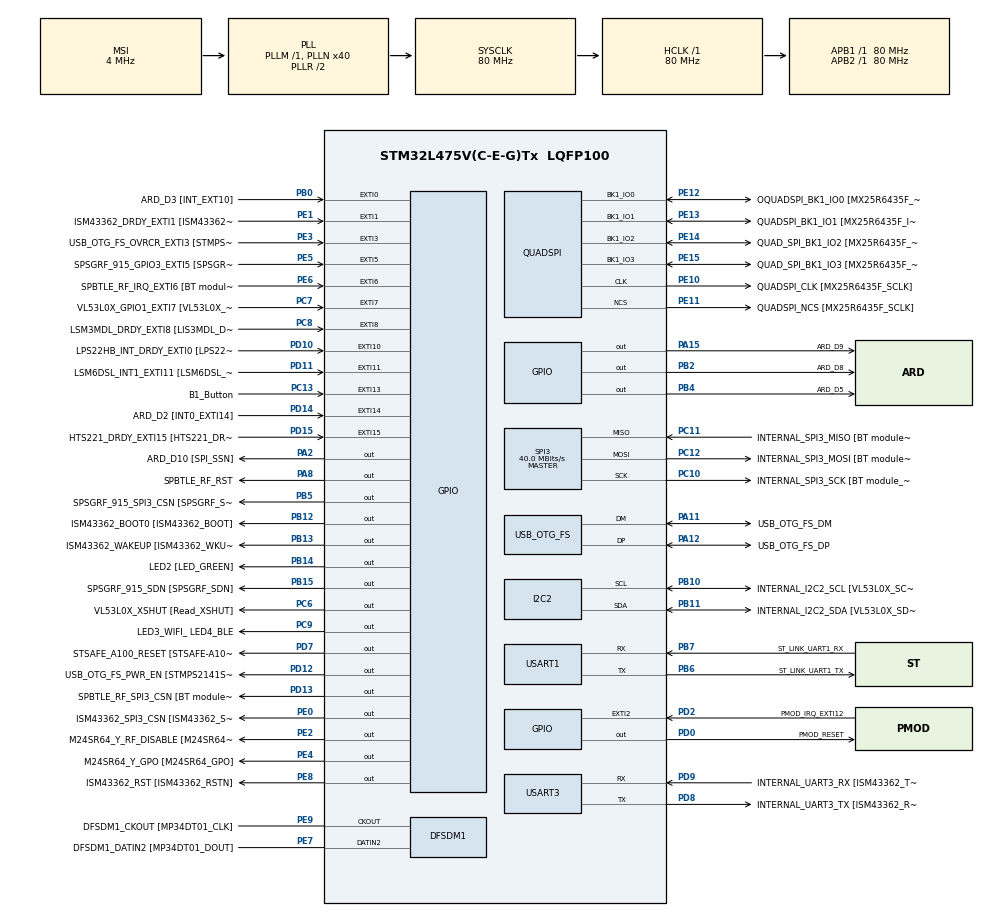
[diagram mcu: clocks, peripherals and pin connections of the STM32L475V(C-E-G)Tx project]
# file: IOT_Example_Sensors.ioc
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FREERTOS.BinarySemaphores01=myBinarySem01,Dynamic,NULL
FREERTOS.Queues01=myQueue01,16,uint16_t,0,Dynamic,NULL,NULL
FREERTOS.Tasks01=buttonTask,1,128,StartButtonTask,Default,NULL,Dynamic,NULL,NULL;tempTask,-3,128,StartTempTask,Default,NULL,Dynamic,NULL,NULL;pressureTask,0,128,StartPressureTask,Default,NULL,Dynamic,NULL,NULL;humidityTask,0,128,StartHumidityTask,Default,NULL,Dynamic,NULL,NULL;accelerometerTa,0,128,StartAccelerometerTask,Default,NULL,Dynamic,NULL,NULL
FREERTOS.configTOTAL_HEAP_SIZE=6000
FREERTOS.configUSE_NEWLIB_REENTRANT=1
Mcu.Family=STM32L4
Mcu.Name=STM32L475V(C-E-G)Tx
Mcu.Package=LQFP100
NVIC.EXTI15_10_IRQn=true\:5\:0\:false\:false\:true\:true\:true\:true\:true
NVIC.EXTI9_5_IRQn=true\:5\:0\:false\:false\:true\:true\:true\:true\:true
NVIC.PriorityGroup=NVIC_PRIORITYGROUP_4
NVIC.TIM1_UP_TIM16_IRQn=true\:15\:0\:false\:false\:true\:false\:false\:true\:true
NVIC.TimeBase=TIM1_UP_TIM16_IRQn
NVIC.TimeBaseIP=TIM1
PA0.GPIO_Label=ARD_D1 [UART4_TX]
PA0.Signal=UART4_TX
PA1.GPIO_Label=ARD_D0 [UART4_RX]
PA1.Signal=UART4_RX
PA10.GPIO_Label=USB_OTG_FS_ID
PA10.Signal=USB_OTG_FS_ID
PA11.GPIO_Label=USB_OTG_FS_DM
PA11.Mode=Device_Only
PA11.Signal=USB_OTG_FS_DM
PA12.GPIO_Label=USB_OTG_FS_DP
PA12.Mode=Device_Only
PA12.Signal=USB_OTG_FS_DP
PA13\ (JTMS-SWDIO).GPIO_Label=SYS_JTMS_SWDIO
PA13\ (JTMS-SWDIO).Mode=Serial_Wire
PA13\ (JTMS-SWDIO).Signal=SYS_JTMS-SWDIO
PA14\ (JTCK-SWCLK).GPIO_Label=SYS_JTCK_SWCLK
PA14\ (JTCK-SWCLK).Mode=Serial_Wire
PA14\ (JTCK-SWCLK).Signal=SYS_JTCK-SWCLK
PA15\ (JTDI).GPIO_Label=ARD_D9
PA15\ (JTDI).Signal=GPIO_Output
PA2.GPIO_Label=ARD_D10 [SPI_SSN]
PA2.Signal=GPIO_Output
PA3.GPIO_Label=ARD_D4
PA3.Signal=S_TIM2_CH4
PA4.GPIO_Label=ARD_D7
PA4.Signal=ADCx_IN9
PA5.GPIO_Label=ARD_D13 [SPI1_SCK]
PA5.Signal=SPI1_SCK
PA6.GPIO_Label=ARD_D12 [SPI1_MISO]
PA6.Signal=SPI1_MISO
PA7.GPIO_Label=ARD_D11 [SPI1_MOSI]
PA7.Signal=SPI1_MOSI
PA8.GPIO_Label=SPBTLE_RF_RST
PA8.Signal=GPIO_Output
PA9.GPIO_Label=USB_OTG_FS_VBUS [STMPS2141STR_OUT]
PA9.Signal=USB_OTG_FS_VBUS
PB0.GPIO_Label=ARD_D3 [INT_EXT10]
PB0.Signal=GPXTI0
PB1.GPIO_Label=ARD_D6 [ADC1_IN6]
PB1.Signal=ADCx_IN16
PB10.GPIO_Label=INTERNAL_I2C2_SCL [VL53L0X_SCL]
PB10.GPIO_Pu=GPIO_PULLUP
PB10.Mode=I2C
PB10.Signal=I2C2_SCL
PB11.GPIO_Label=INTERNAL_I2C2_SDA [VL53L0X_SDA]
PB11.GPIO_Pu=GPIO_PULLUP
PB11.Mode=I2C
PB11.Signal=I2C2_SDA
PB12.GPIO_Label=ISM43362_BOOT0 [ISM43362_BOOT]
PB12.Signal=GPIO_Output
PB13.GPIO_Label=ISM43362_WAKEUP [ISM43362_WKUP]
PB13.Signal=GPIO_Output
PB14.GPIO_Label=LED2 [LED_GREEN]
PB14.Signal=GPIO_Output
PB15.GPIO_Label=SPSGRF_915_SDN [SPSGRF_SDN]
PB15.Signal=GPIO_Output
PB2.GPIO_Label=ARD_D8
PB2.Signal=GPIO_Output
PB3\ (JTDO-TRACESWO).GPIO_Label=SYS_JTD0_SWO
PB3\ (JTDO-TRACESWO).Signal=SYS_JTDO-SWO
PB4\ (NJTRST).GPIO_Label=ARD_D5
PB4\ (NJTRST).Signal=GPIO_Output
PB5.GPIO_Label=SPSGRF_915_SPI3_CSN [SPSGRF_SPI_CS]
PB5.PinState=GPIO_PIN_SET
PB5.Signal=GPIO_Output
PB6.GPIO_Label=ST_LINK_UART1_TX
PB6.Mode=Asynchronous
PB6.Signal=USART1_TX
PB7.GPIO_Label=ST_LINK_UART1_RX
PB7.Mode=Asynchronous
PB7.Signal=USART1_RX
PB8.GPIO_Label=ARD_D15 [I2C1_SCL]
PB8.Signal=I2C1_SCL
PB9.GPIO_Label=ARD_D14 [I2C1_SDA]
PB9.Signal=I2C1_SDA
PC0.GPIO_Label=ARD_A5 [ADC]
PC0.Signal=ADCx_IN1
PC1.GPIO_Label=ARD_A4 [ADC]
PC1.Signal=ADCx_IN2
PC10.GPIO_Label=INTERNAL_SPI3_SCK [BT module_SPI_SCLK] [ISM43362_SCK]
PC10.Mode=Full_Duplex_Master
PC10.Signal=SPI3_SCK
PC11.GPIO_Label=INTERNAL_SPI3_MISO [BT module_SPI_MISO] [ISM43362_MISO]
PC11.Mode=Full_Duplex_Master
PC11.Signal=SPI3_MISO
PC12.GPIO_Label=INTERNAL_SPI3_MOSI [BT module_SPI_MOSI] [ISM43362_MOSI]
PC12.Mode=Full_Duplex_Master
PC12.Signal=SPI3_MOSI
PC13.GPIO_Label=B1_Button
PC13.GPIO_ModeDefaultEXTI=GPIO_MODE_IT_FALLING
PC13.Signal=GPXTI13
PC14-OSC32_IN\ (PC14).Mode=LSE-External-Oscillator
PC14-OSC32_IN\ (PC14).Signal=RCC_OSC32_IN
PC15-OSC32_OUT\ (PC15).Mode=LSE-External-Oscillator
PC15-OSC32_OUT\ (PC15).Signal=RCC_OSC32_OUT
PC2.GPIO_Label=ARD_A3 [ADC]
PC2.Signal=ADCx_IN3
PC3.GPIO_Label=ARD_A2 [ADC]
PC3.Signal=ADCx_IN4
PC4.GPIO_Label=ARD_A1 [ADC]
PC4.Signal=ADCx_IN13
PC5.GPIO_Label=ARD_A0 [ADC]
PC5.Signal=ADCx_IN14
PC6.GPIO_Label=VL53L0X_XSHUT [Read_XSHUT]
PC6.Signal=GPIO_Output
PC7.GPIO_Label=VL53L0X_GPIO1_EXTI7 [VL53L0X_GPIO1]
PC7.Signal=GPXTI7
PC8.GPIO_Label=LSM3MDL_DRDY_EXTI8 [LIS3MDL_DRDY]
PC8.Signal=GPXTI8
PC9.GPIO_Label=LED3_WIFI_ LED4_BLE
PC9.Signal=GPIO_Output
PD0.GPIO_Label=PMOD_RESET
PD0.Signal=GPIO_Output
PD1.GPIO_Label=PMOD_SPI2_SCK
PD1.Signal=SPI2_SCK
PD10.GPIO_Label=LPS22HB_INT_DRDY_EXTI0 [LPS22HB_INT_DRDY] 
PD10.Signal=GPXTI10
PD11.GPIO_Label=LSM6DSL_INT1_EXTI11 [LSM6DSL_INT1]
PD11.Signal=GPXTI11
PD12.GPIO_Label=USB_OTG_FS_PWR_EN [STMPS2141STR_EN]
PD12.Signal=GPIO_Output
PD13.GPIO_Label=SPBTLE_RF_SPI3_CSN [BT module_SPI_CS]
PD13.PinState=GPIO_PIN_SET
PD13.Signal=GPIO_Output
PD14.GPIO_Label=ARD_D2 [INT0_EXTI14]
PD14.Signal=GPXTI14
PD15.GPIO_Label=HTS221_DRDY_EXTI15 [HTS221_DRDY]
PD15.Signal=GPXTI15
PD2.GPIO_Label=PMOD_IRQ_EXTI12
PD2.Signal=GPXTI2
PD3.GPIO_Label=PMOD_UART2_CTS
PD3.Signal=USART2_CTS
PD4.GPIO_Label=PMOD_UART2_RTS
PD4.Signal=USART2_RTS
PD5.GPIO_Label=PMOD_UART2_TX
PD5.Signal=USART2_TX
PD6.GPIO_Label=PMOD_UART2_RX
PD6.Signal=USART2_RX
PD7.GPIO_Label=STSAFE_A100_RESET [STSAFE-A100_RESET]
PD7.Signal=GPIO_Output
PD8.GPIO_Label=INTERNAL_UART3_TX [ISM43362_RX]
PD8.Mode=Asynchronous
PD8.Signal=USART3_TX
PD9.GPIO_Label=INTERNAL_UART3_RX [ISM43362_TX]
PD9.Mode=Asynchronous
PD9.Signal=USART3_RX
PE0.GPIO_Label=ISM43362_SPI3_CSN [ISM43362_SSN]
PE0.PinState=GPIO_PIN_SET
PE0.Signal=GPIO_Output
PE1.GPIO_Label=ISM43362_DRDY_EXTI1 [ISM43362_DATARDY]
PE1.Signal=GPXTI1
PE10.GPIO_Label=QUADSPI_CLK [MX25R6435F_SCLK]
PE10.Mode=Single Bank
PE10.Signal=QUADSPI_CLK
PE11.GPIO_Label=QUADSPI_NCS [MX25R6435F_SCLK]
PE11.Mode=Single Bank
PE11.Signal=QUADSPI_NCS
PE12.GPIO_Label=OQUADSPI_BK1_IO0 [MX25R6435F_IO0]
PE12.Mode=Single Bank
PE12.Signal=QUADSPI_BK1_IO0
PE13.GPIO_Label=QUADSPI_BK1_IO1 [MX25R6435F_IO1]
PE13.Mode=Single Bank
PE13.Signal=QUADSPI_BK1_IO1
PE14.GPIO_Label=QUAD_SPI_BK1_IO2 [MX25R6435F_IO2]
PE14.Mode=Single Bank
PE14.Signal=QUADSPI_BK1_IO2
PE15.GPIO_Label=QUAD_SPI_BK1_IO3 [MX25R6435F_IO3]
PE15.Mode=Single Bank
PE15.Signal=QUADSPI_BK1_IO3
PE2.GPIO_Label=M24SR64_Y_RF_DISABLE [M24SR64_RFDIS]
PE2.Signal=GPIO_Output
PE3.GPIO_Label=USB_OTG_FS_OVRCR_EXTI3 [STMPS2141STR_FAULT]
PE3.Signal=GPXTI3
PE4.GPIO_Label=M24SR64_Y_GPO [M24SR64_GPO]
PE4.Signal=GPIO_Output
PE5.GPIO_Label=SPSGRF_915_GPIO3_EXTI5 [SPSGRF_GPIO_3]
PE5.Signal=GPXTI5
PE6.GPIO_Label=SPBTLE_RF_IRQ_EXTI6 [BT module_SPI_IRQ]
PE6.Signal=GPXTI6
PE7.GPIO_Label=DFSDM1_DATIN2 [MP34DT01_DOUT]
PE7.Signal=S_DATAIN2DFSDM1
PE8.GPIO_Label=ISM43362_RST [ISM43362_RSTN]
PE8.Signal=GPIO_Output
PE9.GPIO_Label=DFSDM1_CKOUT [MP34DT01_CLK]
PE9.Signal=S_CKOUTDFSDM1
ProjectManager.HeapSize=0x200
ProjectManager.StackSize=0x400
ProjectManager.TargetToolchain=STM32CubeIDE
QUADSPI.ClockPrescaler=2
QUADSPI.FifoThreshold=4
QUADSPI.FlashSize=23
QUADSPI.SampleShifting=QSPI_SAMPLE_SHIFTING_HALFCYCLE
RCC.ADCFreq_Value=48000000
RCC.AHBFreq_Value=80000000
RCC.APB1Freq_Value=80000000
RCC.APB1TimFreq_Value=80000000
RCC.APB2Freq_Value=80000000
RCC.APB2TimFreq_Value=80000000
RCC.CortexFreq_Value=80000000
RCC.HCLKFreq_Value=80000000
RCC.HSE_VALUE=8000000
RCC.HSI_VALUE=16000000
RCC.MSI_VALUE=4000000
RCC.PLLN=40
RCC.PLLSAI1N=24
RCC.SYSCLKFreq_VALUE=80000000
RCC.SYSCLKSource=RCC_SYSCLKSOURCE_PLLCLK
RCC.USBFreq_Value=48000000
RCC.VCOOutputFreq_Value=160000000
SH.ADCx_IN1.0=ADC1_IN1
SH.ADCx_IN13.0=ADC1_IN13
SH.ADCx_IN14.0=ADC1_IN14
SH.ADCx_IN16.0=ADC1_IN16
SH.ADCx_IN2.0=ADC1_IN2
SH.ADCx_IN3.0=ADC1_IN3
SH.ADCx_IN4.0=ADC1_IN4
SH.ADCx_IN9.0=ADC1_IN9
SH.S_CKOUTDFSDM1.0=DFSDM1_CKOUT,CKOUT
SH.S_CKOUTDFSDM1.1=DFSDM1_CKOUT,PDM_SPI_Input_from_ch12_and_Internal_Clock
SH.S_DATAIN2DFSDM1.0=DFSDM1_DATIN2,PDM_SPI_Input_from_ch12_and_Internal_Clock
SH.S_TIM2_CH4.0=TIM2_CH4
SPI3.CalculateBaudRate=40.0 MBits/s
SPI3.Direction=SPI_DIRECTION_2LINES
SPI3.Mode=SPI_MODE_MASTER
SPI3.VirtualType=VM_MASTER
USART1.VirtualMode-Asynchronous=VM_ASYNC
USART3.VirtualMode-Asynchronous=VM_ASYNC
USB_OTG_FS.VirtualMode=Device_Only
VP_FREERTOS_VS_CMSIS_V1.Mode=CMSIS_V1
VP_SYS_VS_tim1.Mode=TIM1
board=B-L475E-IOT01A2

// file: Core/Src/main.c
/* USER CODE BEGIN Header */
/**
  ******************************************************************************
  * @file           : main.c
  * @brief          : Main program body
  ******************************************************************************
  * @attention
  *
  * Copyright (c) 2023 STMicroelectronics.
  * All rights reserved.
  *
  * This software is licensed under terms that can be found in the LICENSE file
  * in the root directory of this software component.
  * If no LICENSE file comes with this software, it is provided AS-IS.
  *
  ******************************************************************************
  */
/* USER CODE END Header */
#include "main.h"
#include "cmsis_os.h"

/* USER CODE BEGIN Includes */
#include "stm32l475e_iot01.h"
#include "stm32l475e_iot01_tsensor.h"
#include "stm32l475e_iot01_psensor.h"
#include "stm32l475e_iot01_hsensor.h"
#include "stm32l475e_iot01_accelero.h"
#include <math.h>
#include <stdio.h>

/* USER CODE END Includes */

DFSDM_Channel_HandleTypeDef hdfsdm1_channel1;

I2C_HandleTypeDef hi2c2;

QSPI_HandleTypeDef hqspi;

SPI_HandleTypeDef hspi3;

UART_HandleTypeDef huart1;
UART_HandleTypeDef huart3;

PCD_HandleTypeDef hpcd_USB_OTG_FS;

osThreadId buttonTaskHandle;
osThreadId tempTaskHandle;
osThreadId pressureTaskHandle;
osThreadId humidityTaskHandle;
osThreadId accelerometerTaHandle;
osSemaphoreId myBinarySem01Handle;
/* USER CODE BEGIN PV */
osMessageQId myQueue01Handle;

int hits = 0;

float temp_value = 0;
char str_tmp[100] = "";

float pres_value = 0;
char str_pres[100] = "";

float humidity_value = 0;
char str_hum[100] = "";

int16_t accel_values[3];

//float acc_value_x = 0;
char str_acc_1[100] = "";

//float acc_value_y = 0;
char str_acc_2[100] = "";

//float acc_value_y = 0;
char str_acc_3[100] = "";

/* USER CODE END PV */

void SystemClock_Config(void);
static void MX_GPIO_Init(void);
//static void MX_DFSDM1_Init(void);
static void MX_I2C2_Init(void);
static void MX_QUADSPI_Init(void);
static void MX_SPI3_Init(void);
static void MX_USART1_UART_Init(void);
static void MX_USART3_UART_Init(void);
static void MX_USB_OTG_FS_PCD_Init(void);
void StartButtonTask(void const * argument);
void StartTempTask(void const * argument);
void StartPressureTask(void const * argument);
void StartHumidityTask(void const * argument);
void StartAccelerometerTask(void const * argument);

int main(void)
{

  /* MCU Configuration--------------------------------------------------------*/

  /* Reset of all peripherals, Initializes the Flash interface and the Systick. */
  HAL_Init();

  /* Configure the system clock */
  SystemClock_Config();

  /* Initialize all configured peripherals */
  MX_GPIO_Init();
  //MX_DFSDM1_Init();
  MX_I2C2_Init();
  MX_QUADSPI_Init();
  MX_SPI3_Init();
  MX_USART1_UART_Init();
  MX_USART3_UART_Init();
  MX_USB_OTG_FS_PCD_Init();

  /* USER CODE BEGIN 2 */

  BSP_TSENSOR_Init();
  BSP_PSENSOR_Init();
  BSP_HSENSOR_Init();
  BSP_ACCELERO_Init();

  /* USER CODE END 2 */

  /* Create the semaphores(s) */
  /* definition and creation of myBinarySem01 */
  osSemaphoreDef(myBinarySem01);
  myBinarySem01Handle = osSemaphoreCreate(osSemaphore(myBinarySem01), 1);

  /* USER CODE BEGIN RTOS_QUEUES */
  //osMessageQDef(myQueue01, 16, uint16_t);
  //myQueue01Handle = osMessageCreate(osMessageQ(myQueue01), NULL);
  /* add queues, ... */
  /* USER CODE END RTOS_QUEUES */

  /* definition and creation of myQueue01 */

  /* Create the thread(s) */
  /* definition and creation of buttonTask */
  //osThreadDef(buttonTask, StartButtonTask, osPriorityAboveNormal, 0, 128);
  //buttonTaskHandle = osThreadCreate(osThread(buttonTask), NULL);

  /* definition and creation of tempTask */
  osThreadDef(tempTask, StartTempTask, osPriorityNormal, 0, 128);
  tempTaskHandle = osThreadCreate(osThread(tempTask), NULL);

  /* definition and creation of pressureTask */
  osThreadDef(pressureTask, StartPressureTask, osPriorityNormal, 0, 128);
  pressureTaskHandle = osThreadCreate(osThread(pressureTask), NULL);

  /* definition and creation of humidityTask */
  osThreadDef(humidityTask, StartHumidityTask, osPriorityNormal, 0, 128);
  humidityTaskHandle = osThreadCreate(osThread(humidityTask), NULL);

  /* definition and creation of accelerometerTa */
  osThreadDef(accelerometerTa, StartAccelerometerTask, osPriorityNormal, 0, 128);
  accelerometerTaHandle = osThreadCreate(osThread(accelerometerTa), NULL);

  /* Start scheduler */
  osKernelStart();

  /* We should never get here as control is now taken by the scheduler */
  /* Infinite loop */
  while (1)
  {

  }
}

void SystemClock_Config(void)
{
  RCC_OscInitTypeDef RCC_OscInitStruct = {0};
  RCC_ClkInitTypeDef RCC_ClkInitStruct = {0};

  /** Configure the main internal regulator output voltage
  */
  if (HAL_PWREx_ControlVoltageScaling(PWR_REGULATOR_VOLTAGE_SCALE1) != HAL_OK)
  {
    Error_Handler();
  }

  /** Configure LSE Drive Capability
  */
  HAL_PWR_EnableBkUpAccess();
  __HAL_RCC_LSEDRIVE_CONFIG(RCC_LSEDRIVE_LOW);

  /** Initializes the RCC Oscillators according to the specified parameters
  * in the RCC_OscInitTypeDef structure.
  */
  RCC_OscInitStruct.OscillatorType = RCC_OSCILLATORTYPE_LSE|RCC_OSCILLATORTYPE_MSI;
  RCC_OscInitStruct.LSEState = RCC_LSE_ON;
  RCC_OscInitStruct.MSIState = RCC_MSI_ON;
  RCC_OscInitStruct.MSICalibrationValue = 0;
  RCC_OscInitStruct.MSIClockRange = RCC_MSIRANGE_6;
  RCC_OscInitStruct.PLL.PLLState = RCC_PLL_ON;
  RCC_OscInitStruct.PLL.PLLSource = RCC_PLLSOURCE_MSI;
  RCC_OscInitStruct.PLL.PLLM = 1;
  RCC_OscInitStruct.PLL.PLLN = 40;
  RCC_OscInitStruct.PLL.PLLP = RCC_PLLP_DIV7;
  RCC_OscInitStruct.PLL.PLLQ = RCC_PLLQ_DIV2;
  RCC_OscInitStruct.PLL.PLLR = RCC_PLLR_DIV2;
  if (HAL_RCC_OscConfig(&RCC_OscInitStruct) != HAL_OK)
  {
    Error_Handler();
  }

  /** Initializes the CPU, AHB and APB buses clocks
  */
  RCC_ClkInitStruct.ClockType = RCC_CLOCKTYPE_HCLK|RCC_CLOCKTYPE_SYSCLK
                              |RCC_CLOCKTYPE_PCLK1|RCC_CLOCKTYPE_PCLK2;
  RCC_ClkInitStruct.SYSCLKSource = RCC_SYSCLKSOURCE_PLLCLK;
  RCC_ClkInitStruct.AHBCLKDivider = RCC_SYSCLK_DIV1;
  RCC_ClkInitStruct.APB1CLKDivider = RCC_HCLK_DIV1;
  RCC_ClkInitStruct.APB2CLKDivider = RCC_HCLK_DIV1;

  if (HAL_RCC_ClockConfig(&RCC_ClkInitStruct, FLASH_LATENCY_4) != HAL_OK)
  {
    Error_Handler();
  }

  /** Enable MSI Auto calibration
  */
  HAL_RCCEx_EnableMSIPLLMode();
}

/*
static void MX_DFSDM1_Init(void)
{
*/

/*
  hdfsdm1_channel1.Instance = DFSDM1_Channel1;
  hdfsdm1_channel1.Init.OutputClock.Activation = ENABLE;
  hdfsdm1_channel1.Init.OutputClock.Selection = DFSDM_CHANNEL_OUTPUT_CLOCK_SYSTEM;
  hdfsdm1_channel1.Init.OutputClock.Divider = 2;
  hdfsdm1_channel1.Init.Input.Multiplexer = DFSDM_CHANNEL_EXTERNAL_INPUTS;
  hdfsdm1_channel1.Init.Input.DataPacking = DFSDM_CHANNEL_STANDARD_MODE;
  hdfsdm1_channel1.Init.Input.Pins = DFSDM_CHANNEL_FOLLOWING_CHANNEL_PINS;
  hdfsdm1_channel1.Init.SerialInterface.Type = DFSDM_CHANNEL_SPI_RISING;
  hdfsdm1_channel1.Init.SerialInterface.SpiClock = DFSDM_CHANNEL_SPI_CLOCK_INTERNAL;
  hdfsdm1_channel1.Init.Awd.FilterOrder = DFSDM_CHANNEL_FASTSINC_ORDER;
  hdfsdm1_channel1.Init.Awd.Oversampling = 1;
  hdfsdm1_channel1.Init.Offset = 0;
  hdfsdm1_channel1.Init.RightBitShift = 0x00;
  if (HAL_DFSDM_ChannelInit(&hdfsdm1_channel1) != HAL_OK)
  {
    Error_Handler();
  }
  */

//}

static void MX_I2C2_Init(void)
{

  hi2c2.Instance = I2C2;
  hi2c2.Init.Timing = 0x00000E14;
  hi2c2.Init.OwnAddress1 = 0;
  hi2c2.Init.AddressingMode = I2C_ADDRESSINGMODE_7BIT;
  hi2c2.Init.DualAddressMode = I2C_DUALADDRESS_DISABLE;
  hi2c2.Init.OwnAddress2 = 0;
  hi2c2.Init.OwnAddress2Masks = I2C_OA2_NOMASK;
  hi2c2.Init.GeneralCallMode = I2C_GENERALCALL_DISABLE;
  hi2c2.Init.NoStretchMode = I2C_NOSTRETCH_DISABLE;
  if (HAL_I2C_Init(&hi2c2) != HAL_OK)
  {
    Error_Handler();
  }

  /** Configure Analogue filter
  */
  if (HAL_I2CEx_ConfigAnalogFilter(&hi2c2, I2C_ANALOGFILTER_ENABLE) != HAL_OK)
  {
    Error_Handler();
  }

  /** Configure Digital filter
  */
  if (HAL_I2CEx_ConfigDigitalFilter(&hi2c2, 0) != HAL_OK)
  {
    Error_Handler();
  }

}

static void MX_QUADSPI_Init(void)
{

  /* QUADSPI parameter configuration*/
  hqspi.Instance = QUADSPI;
  hqspi.Init.ClockPrescaler = 2;
  hqspi.Init.FifoThreshold = 4;
  hqspi.Init.SampleShifting = QSPI_SAMPLE_SHIFTING_HALFCYCLE;
  hqspi.Init.FlashSize = 23;
  hqspi.Init.ChipSelectHighTime = QSPI_CS_HIGH_TIME_1_CYCLE;
  hqspi.Init.ClockMode = QSPI_CLOCK_MODE_0;
  if (HAL_QSPI_Init(&hqspi) != HAL_OK)
  {
    Error_Handler();
  }

}

static void MX_SPI3_Init(void)
{

  /* SPI3 parameter configuration*/
  hspi3.Instance = SPI3;
  hspi3.Init.Mode = SPI_MODE_MASTER;
  hspi3.Init.Direction = SPI_DIRECTION_2LINES;
  hspi3.Init.DataSize = SPI_DATASIZE_4BIT;
  hspi3.Init.CLKPolarity = SPI_POLARITY_LOW;
  hspi3.Init.CLKPhase = SPI_PHASE_1EDGE;
  hspi3.Init.NSS = SPI_NSS_SOFT;
  hspi3.Init.BaudRatePrescaler = SPI_BAUDRATEPRESCALER_2;
  hspi3.Init.FirstBit = SPI_FIRSTBIT_MSB;
  hspi3.Init.TIMode = SPI_TIMODE_DISABLE;
  hspi3.Init.CRCCalculation = SPI_CRCCALCULATION_DISABLE;
  hspi3.Init.CRCPolynomial = 7;
  hspi3.Init.CRCLength = SPI_CRC_LENGTH_DATASIZE;
  hspi3.Init.NSSPMode = SPI_NSS_PULSE_ENABLE;
  if (HAL_SPI_Init(&hspi3) != HAL_OK)
  {
    Error_Handler();
  }

}

static void MX_USART1_UART_Init(void)
{

  huart1.Instance = USART1;
  huart1.Init.BaudRate = 115200;
  huart1.Init.WordLength = UART_WORDLENGTH_8B;
  huart1.Init.StopBits = UART_STOPBITS_1;
  huart1.Init.Parity = UART_PARITY_NONE;
  huart1.Init.Mode = UART_MODE_TX_RX;
  huart1.Init.HwFlowCtl = UART_HWCONTROL_NONE;
  huart1.Init.OverSampling = UART_OVERSAMPLING_16;
  huart1.Init.OneBitSampling = UART_ONE_BIT_SAMPLE_DISABLE;
  huart1.AdvancedInit.AdvFeatureInit = UART_ADVFEATURE_NO_INIT;
  if (HAL_UART_Init(&huart1) != HAL_OK)
  {
    Error_Handler();
  }

}

static void MX_USART3_UART_Init(void)
{

  huart3.Instance = USART3;
  huart3.Init.BaudRate = 115200;
  huart3.Init.WordLength = UART_WORDLENGTH_8B;
  huart3.Init.StopBits = UART_STOPBITS_1;
  huart3.Init.Parity = UART_PARITY_NONE;
  huart3.Init.Mode = UART_MODE_TX_RX;
  huart3.Init.HwFlowCtl = UART_HWCONTROL_NONE;
  huart3.Init.OverSampling = UART_OVERSAMPLING_16;
  huart3.Init.OneBitSampling = UART_ONE_BIT_SAMPLE_DISABLE;
  huart3.AdvancedInit.AdvFeatureInit = UART_ADVFEATURE_NO_INIT;
  if (HAL_UART_Init(&huart3) != HAL_OK)
  {
    Error_Handler();
  }

}

static void MX_USB_OTG_FS_PCD_Init(void)
{

  hpcd_USB_OTG_FS.Instance = USB_OTG_FS;
  hpcd_USB_OTG_FS.Init.dev_endpoints = 6;
  hpcd_USB_OTG_FS.Init.speed = PCD_SPEED_FULL;
  hpcd_USB_OTG_FS.Init.phy_itface = PCD_PHY_EMBEDDED;
  hpcd_USB_OTG_FS.Init.Sof_enable = DISABLE;
  hpcd_USB_OTG_FS.Init.low_power_enable = DISABLE;
  hpcd_USB_OTG_FS.Init.lpm_enable = DISABLE;
  hpcd_USB_OTG_FS.Init.battery_charging_enable = DISABLE;
  hpcd_USB_OTG_FS.Init.use_dedicated_ep1 = DISABLE;
  hpcd_USB_OTG_FS.Init.vbus_sensing_enable = DISABLE;
  if (HAL_PCD_Init(&hpcd_USB_OTG_FS) != HAL_OK)
  {
    Error_Handler();
  }

}

static void MX_GPIO_Init(void)
{
  GPIO_InitTypeDef GPIO_InitStruct = {0};

  /* GPIO Ports Clock Enable */
  __HAL_RCC_GPIOE_CLK_ENABLE();
  __HAL_RCC_GPIOC_CLK_ENABLE();
  __HAL_RCC_GPIOA_CLK_ENABLE();
  __HAL_RCC_GPIOB_CLK_ENABLE();
  __HAL_RCC_GPIOD_CLK_ENABLE();

  /*Configure GPIO pin Output Level */
  HAL_GPIO_WritePin(GPIOE, M24SR64_Y_RF_DISABLE_Pin|M24SR64_Y_GPO_Pin|ISM43362_RST_Pin, GPIO_PIN_RESET);

  /*Configure GPIO pin Output Level */
  HAL_GPIO_WritePin(GPIOA, ARD_D10_Pin|SPBTLE_RF_RST_Pin|ARD_D9_Pin, GPIO_PIN_RESET);

  /*Configure GPIO pin Output Level */
  HAL_GPIO_WritePin(GPIOB, ARD_D8_Pin|ISM43362_BOOT0_Pin|ISM43362_WAKEUP_Pin|LED2_Pin
                          |SPSGRF_915_SDN_Pin|ARD_D5_Pin, GPIO_PIN_RESET);

  /*Configure GPIO pin Output Level */
  HAL_GPIO_WritePin(GPIOD, USB_OTG_FS_PWR_EN_Pin|PMOD_RESET_Pin|STSAFE_A100_RESET_Pin, GPIO_PIN_RESET);

  /*Configure GPIO pin Output Level */
  HAL_GPIO_WritePin(SPBTLE_RF_SPI3_CSN_GPIO_Port, SPBTLE_RF_SPI3_CSN_Pin, GPIO_PIN_SET);

  /*Configure GPIO pin Output Level */
  HAL_GPIO_WritePin(GPIOC, VL53L0X_XSHUT_Pin|LED3_WIFI__LED4_BLE_Pin, GPIO_PIN_RESET);

  /*Configure GPIO pin Output Level */
  HAL_GPIO_WritePin(SPSGRF_915_SPI3_CSN_GPIO_Port, SPSGRF_915_SPI3_CSN_Pin, GPIO_PIN_SET);

  /*Configure GPIO pin Output Level */
  HAL_GPIO_WritePin(ISM43362_SPI3_CSN_GPIO_Port, ISM43362_SPI3_CSN_Pin, GPIO_PIN_SET);

  /*Configure GPIO pins : M24SR64_Y_RF_DISABLE_Pin M24SR64_Y_GPO_Pin ISM43362_RST_Pin ISM43362_SPI3_CSN_Pin */
  GPIO_InitStruct.Pin = M24SR64_Y_RF_DISABLE_Pin|M24SR64_Y_GPO_Pin|ISM43362_RST_Pin|ISM43362_SPI3_CSN_Pin;
  GPIO_InitStruct.Mode = GPIO_MODE_OUTPUT_PP;
  GPIO_InitStruct.Pull = GPIO_NOPULL;
  GPIO_InitStruct.Speed = GPIO_SPEED_FREQ_LOW;
  HAL_GPIO_Init(GPIOE, &GPIO_InitStruct);

  /*Configure GPIO pins : USB_OTG_FS_OVRCR_EXTI3_Pin SPSGRF_915_GPIO3_EXTI5_Pin SPBTLE_RF_IRQ_EXTI6_Pin ISM43362_DRDY_EXTI1_Pin */
  GPIO_InitStruct.Pin = USB_OTG_FS_OVRCR_EXTI3_Pin|SPSGRF_915_GPIO3_EXTI5_Pin|SPBTLE_RF_IRQ_EXTI6_Pin|ISM43362_DRDY_EXTI1_Pin;
  GPIO_InitStruct.Mode = GPIO_MODE_IT_RISING;
  GPIO_InitStruct.Pull = GPIO_NOPULL;
  HAL_GPIO_Init(GPIOE, &GPIO_InitStruct);

  /*Configure GPIO pin : B1_Button_Pin */
  GPIO_InitStruct.Pin = B1_Button_Pin;
  GPIO_InitStruct.Mode = GPIO_MODE_IT_FALLING;
  GPIO_InitStruct.Pull = GPIO_NOPULL;
  HAL_GPIO_Init(B1_Button_GPIO_Port, &GPIO_InitStruct);

  /*Configure GPIO pins : ARD_A5_Pin ARD_A4_Pin ARD_A3_Pin ARD_A2_Pin
                           ARD_A1_Pin ARD_A0_Pin */
  GPIO_InitStruct.Pin = ARD_A5_Pin|ARD_A4_Pin|ARD_A3_Pin|ARD_A2_Pin
                          |ARD_A1_Pin|ARD_A0_Pin;
  GPIO_InitStruct.Mode = GPIO_MODE_ANALOG_ADC_CONTROL;
  GPIO_InitStruct.Pull = GPIO_NOPULL;
  HAL_GPIO_Init(GPIOC, &GPIO_InitStruct);

  /*Configure GPIO pins : ARD_D1_Pin ARD_D0_Pin */
  GPIO_InitStruct.Pin = ARD_D1_Pin|ARD_D0_Pin;
  GPIO_InitStruct.Mode = GPIO_MODE_AF_PP;
  GPIO_InitStruct.Pull = GPIO_NOPULL;
  GPIO_InitStruct.Speed = GPIO_SPEED_FREQ_VERY_HIGH;
  GPIO_InitStruct.Alternate = GPIO_AF8_UART4;
  HAL_GPIO_Init(GPIOA, &GPIO_InitStruct);

  /*Configure GPIO pins : ARD_D10_Pin SPBTLE_RF_RST_Pin ARD_D9_Pin */
  GPIO_InitStruct.Pin = ARD_D10_Pin|SPBTLE_RF_RST_Pin|ARD_D9_Pin;
  GPIO_InitStruct.Mode = GPIO_MODE_OUTPUT_PP;
  GPIO_InitStruct.Pull = GPIO_NOPULL;
  GPIO_InitStruct.Speed = GPIO_SPEED_FREQ_LOW;
  HAL_GPIO_Init(GPIOA, &GPIO_InitStruct);

  /*Configure GPIO pin : ARD_D4_Pin */
  GPIO_InitStruct.Pin = ARD_D4_Pin;
  GPIO_InitStruct.Mode = GPIO_MODE_AF_PP;
  GPIO_InitStruct.Pull = GPIO_NOPULL;
  GPIO_InitStruct.Speed = GPIO_SPEED_FREQ_LOW;
  GPIO_InitStruct.Alternate = GPIO_AF1_TIM2;
  HAL_GPIO_Init(ARD_D4_GPIO_Port, &GPIO_InitStruct);

  /*Configure GPIO pin : ARD_D7_Pin */
  GPIO_InitStruct.Pin = ARD_D7_Pin;
  GPIO_InitStruct.Mode = GPIO_MODE_ANALOG_ADC_CONTROL;
  GPIO_InitStruct.Pull = GPIO_NOPULL;
  HAL_GPIO_Init(ARD_D7_GPIO_Port, &GPIO_InitStruct);

  /*Configure GPIO pins : ARD_D13_Pin ARD_D12_Pin ARD_D11_Pin */
  GPIO_InitStruct.Pin = ARD_D13_Pin|ARD_D12_Pin|ARD_D11_Pin;
  GPIO_InitStruct.Mode = GPIO_MODE_AF_PP;
  GPIO_InitStruct.Pull = GPIO_NOPULL;
  GPIO_InitStruct.Speed = GPIO_SPEED_FREQ_VERY_HIGH;
  GPIO_InitStruct.Alternate = GPIO_AF5_SPI1;
  HAL_GPIO_Init(GPIOA, &GPIO_InitStruct);

  /*Configure GPIO pin : ARD_D3_Pin */
  GPIO_InitStruct.Pin = ARD_D3_Pin;
  GPIO_InitStruct.Mode = GPIO_MODE_IT_RISING;
  GPIO_InitStruct.Pull = GPIO_NOPULL;
  HAL_GPIO_Init(ARD_D3_GPIO_Port, &GPIO_InitStruct);

  /*Configure GPIO pin : ARD_D6_Pin */
  GPIO_InitStruct.Pin = ARD_D6_Pin;
  GPIO_InitStruct.Mode = GPIO_MODE_ANALOG_ADC_CONTROL;
  GPIO_InitStruct.Pull = GPIO_NOPULL;
  HAL_GPIO_Init(ARD_D6_GPIO_Port, &GPIO_InitStruct);

  /*Configure GPIO pins : ARD_D8_Pin ISM43362_BOOT0_Pin ISM43362_WAKEUP_Pin LED2_Pin
                           SPSGRF_915_SDN_Pin ARD_D5_Pin SPSGRF_915_SPI3_CSN_Pin */
  GPIO_InitStruct.Pin = ARD_D8_Pin|ISM43362_BOOT0_Pin|ISM43362_WAKEUP_Pin|LED2_Pin
                          |SPSGRF_915_SDN_Pin|ARD_D5_Pin|SPSGRF_915_SPI3_CSN_Pin;
  GPIO_InitStruct.Mode = GPIO_MODE_OUTPUT_PP;
  GPIO_InitStruct.Pull = GPIO_NOPULL;
  GPIO_InitStruct.Speed = GPIO_SPEED_FREQ_LOW;
  HAL_GPIO_Init(GPIOB, &GPIO_InitStruct);

  /*Configure GPIO pins : LPS22HB_INT_DRDY_EXTI0_Pin LSM6DSL_INT1_EXTI11_Pin ARD_D2_Pin HTS221_DRDY_EXTI15_Pin
                           PMOD_IRQ_EXTI12_Pin */
  GPIO_InitStruct.Pin = LPS22HB_INT_DRDY_EXTI0_Pin|LSM6DSL_INT1_EXTI11_Pin|ARD_D2_Pin|HTS221_DRDY_EXTI15_Pin
                          |PMOD_IRQ_EXTI12_Pin;
  GPIO_InitStruct.Mode = GPIO_MODE_IT_RISING;
  GPIO_InitStruct.Pull = GPIO_NOPULL;
  HAL_GPIO_Init(GPIOD, &GPIO_InitStruct);

  /*Configure GPIO pins : USB_OTG_FS_PWR_EN_Pin SPBTLE_RF_SPI3_CSN_Pin PMOD_RESET_Pin STSAFE_A100_RESET_Pin */
  GPIO_InitStruct.Pin = USB_OTG_FS_PWR_EN_Pin|SPBTLE_RF_SPI3_CSN_Pin|PMOD_RESET_Pin|STSAFE_A100_RESET_Pin;
  GPIO_InitStruct.Mode = GPIO_MODE_OUTPUT_PP;
  GPIO_InitStruct.Pull = GPIO_NOPULL;
  GPIO_InitStruct.Speed = GPIO_SPEED_FREQ_LOW;
  HAL_GPIO_Init(GPIOD, &GPIO_InitStruct);

  /*Configure GPIO pins : VL53L0X_XSHUT_Pin LED3_WIFI__LED4_BLE_Pin */
  GPIO_InitStruct.Pin = VL53L0X_XSHUT_Pin|LED3_WIFI__LED4_BLE_Pin;
  GPIO_InitStruct.Mode = GPIO_MODE_OUTPUT_PP;
  GPIO_InitStruct.Pull = GPIO_NOPULL;
  GPIO_InitStruct.Speed = GPIO_SPEED_FREQ_LOW;
  HAL_GPIO_Init(GPIOC, &GPIO_InitStruct);

  /*Configure GPIO pins : VL53L0X_GPIO1_EXTI7_Pin LSM3MDL_DRDY_EXTI8_Pin */
  GPIO_InitStruct.Pin = VL53L0X_GPIO1_EXTI7_Pin|LSM3MDL_DRDY_EXTI8_Pin;
  GPIO_InitStruct.Mode = GPIO_MODE_IT_RISING;
  GPIO_InitStruct.Pull = GPIO_NOPULL;
  HAL_GPIO_Init(GPIOC, &GPIO_InitStruct);

  /*Configure GPIO pin : PMOD_SPI2_SCK_Pin */
  GPIO_InitStruct.Pin = PMOD_SPI2_SCK_Pin;
  GPIO_InitStruct.Mode = GPIO_MODE_AF_PP;
  GPIO_InitStruct.Pull = GPIO_NOPULL;
  GPIO_InitStruct.Speed = GPIO_SPEED_FREQ_VERY_HIGH;
  GPIO_InitStruct.Alternate = GPIO_AF5_SPI2;
  HAL_GPIO_Init(PMOD_SPI2_SCK_GPIO_Port, &GPIO_InitStruct);

  /*Configure GPIO pins : PMOD_UART2_CTS_Pin PMOD_UART2_RTS_Pin PMOD_UART2_TX_Pin PMOD_UART2_RX_Pin */
  GPIO_InitStruct.Pin = PMOD_UART2_CTS_Pin|PMOD_UART2_RTS_Pin|PMOD_UART2_TX_Pin|PMOD_UART2_RX_Pin;
  GPIO_InitStruct.Mode = GPIO_MODE_AF_PP;
  GPIO_InitStruct.Pull = GPIO_NOPULL;
  GPIO_InitStruct.Speed = GPIO_SPEED_FREQ_VERY_HIGH;
  GPIO_InitStruct.Alternate = GPIO_AF7_USART2;
  HAL_GPIO_Init(GPIOD, &GPIO_InitStruct);

  /*Configure GPIO pins : ARD_D15_Pin ARD_D14_Pin */
  GPIO_InitStruct.Pin = ARD_D15_Pin|ARD_D14_Pin;
  GPIO_InitStruct.Mode = GPIO_MODE_AF_OD;
  GPIO_InitStruct.Pull = GPIO_NOPULL;
  GPIO_InitStruct.Speed = GPIO_SPEED_FREQ_VERY_HIGH;
  GPIO_InitStruct.Alternate = GPIO_AF4_I2C1;
  HAL_GPIO_Init(GPIOB, &GPIO_InitStruct);

  /* EXTI interrupt init*/
  HAL_NVIC_SetPriority(EXTI9_5_IRQn, 5, 0);
  HAL_NVIC_EnableIRQ(EXTI9_5_IRQn);

  HAL_NVIC_SetPriority(EXTI15_10_IRQn, 5, 0);
  HAL_NVIC_EnableIRQ(EXTI15_10_IRQn);

}

//void StartButtonTask(void const * argument)
//{
  /* USER CODE BEGIN 5 */
  /* Infinite loop */
 /* for(;;)
  {

	  osDelay(100);
	  if (HAL_GPIO_ReadPin(B1_Button_GPIO_Port, B1_button_Pin) == 0)
	  {
	  	hits = hits + 1;
	  }
	  */
 // }
  /* USER CODE END 5 */
//}

void StartTempTask(void const * argument)
{
  /* USER CODE BEGIN StartTempTask */
  /* Infinite loop */
  for(;;)
  {
	  if (hits % 2 == 1)
	  {
	  		  temp_value = BSP_TSENSOR_ReadTemp();
	  		  int tmpInt1 = temp_value;
	  		  float tmpFrac = temp_value - tmpInt1;
	  		  int tmpInt2 = trunc(tmpFrac * 100);

	  		  osSemaphoreWait(myBinarySem01Handle, osWaitForever);
	  		  snprintf(str_tmp,100,"TEMPERATURE = %d.%02d\n\r", tmpInt1, tmpInt2);
	  		  //osMessagePut(myQueue01Handle, (uint32_t)tmpInt2, osWaitForever);
	  		  HAL_UART_Transmit(&huart1,( uint8_t * )str_tmp, sizeof(str_tmp),1000);
	  		  osSemaphoreRelease(myBinarySem01Handle);
	  		  osDelay(1000);
	  }
  /* USER CODE END StartTempTask */
}
}
void StartPressureTask(void const * argument)
{
  /* USER CODE BEGIN StartPressureTask */
  /* Infinite loop */
  for(;;)
  {
	  if (hits % 2 == 1)
	  {
		  pres_value = BSP_PSENSOR_ReadPressure();
		  int presInt1_1 = pres_value;
		  float presFrac = pres_value - presInt1_1;
		  int presInt2_2 = trunc(presFrac * 100);

		  osSemaphoreWait(myBinarySem01Handle, osWaitForever);
		  //uint8_t msg[] = "Acquired Semaphore in Pressure Task !!!\r\n"; // Data to send
		  //HAL_UART_Transmit(&huart1, msg, sizeof(msg), 10); // Sending in normal mode
		  snprintf(str_pres,100,"Pressure = %d.%02d\n\r", presInt1_1, presInt2_2);
		  HAL_UART_Transmit(&huart1,( uint8_t * )str_pres, sizeof(str_pres),1000);
		  osSemaphoreRelease(myBinarySem01Handle);
		  osDelay(1000);
	  }
  }
  /* USER CODE END StartPressureTask */
}

void StartHumidityTask(void const * argument)
{
  /* USER CODE BEGIN StartHumidityTask */
  /* Infinite loop */
  for(;;)
  {
	  if (hits % 2 == 1)
	  	  {
			  humidity_value = BSP_HSENSOR_ReadHumidity();
			  int humInt1_1 = humidity_value;
			  float humFrac = humidity_value - humInt1_1;
			  int humInt2_2 = trunc(humFrac * 100);

			  osSemaphoreWait(myBinarySem01Handle, osWaitForever);
			  //uint8_t msg[] = "Acquired Semaphore in Pressure Task !!!\r\n"; // Data to send
			  //HAL_UART_Transmit(&huart1, msg, sizeof(msg), 10); // Sending in normal mode
			  snprintf(str_hum,100,"Humidity = %d.%02d\n\r", humInt1_1, humInt2_2);
			  HAL_UART_Transmit(&huart1,( uint8_t * )str_hum, sizeof(str_hum),1000);
			  osSemaphoreRelease(myBinarySem01Handle);
			  osDelay(1000);
	  	  }
  }
  /* USER CODE END StartHumidityTask */
}

void StartAccelerometerTask(void const * argument)
{
  /* USER CODE BEGIN StartAccelerometerTask */
  /* Infinite loop */
  for(;;)
  {
	  if (hits % 2 == 1)
	  	  	  {
	  			  BSP_ACCELERO_AccGetXYZ(accel_values);
	  			  int accInt1_1 = accel_values[0];
	  			  int accInt1_2 = accel_values[1];
	  			  int accInt1_3 = accel_values[2];

	  			  osSemaphoreWait(myBinarySem01Handle, osWaitForever);
	  			  //uint8_t msg[] = "Acquired Semaphore in Pressure Task !!!\r\n"; // Data to send
	  			  //HAL_UART_Transmit(&huart1, msg, sizeof(msg), 10); // Sending in normal mode
	  			  snprintf(str_acc_1,100,"Acceleration in x = %d\n\r", accInt1_1);
	  			  HAL_UART_Transmit(&huart1,( uint8_t * )str_acc_1, sizeof(str_acc_1),1000);

	  			  snprintf(str_acc_2,100,"Acceleration in y = %d\n\r", accInt1_2);
	  			  HAL_UART_Transmit(&huart1,( uint8_t * )str_acc_2, sizeof(str_acc_2),1000);

	  			  snprintf(str_acc_3,100,"Acceleration in z = %d\n\r", accInt1_3);
	  			  HAL_UART_Transmit(&huart1,( uint8_t * )str_acc_3, sizeof(str_acc_3),1000);

	  			  osSemaphoreRelease(myBinarySem01Handle);
	  			  osDelay(1000);
	  	  	  }

  }
  /* USER CODE END StartAccelerometerTask */
}

void HAL_TIM_PeriodElapsedCallback(TIM_HandleTypeDef *htim)
{
  if (htim->Instance == TIM1) {
    HAL_IncTick();
  }
}

void Error_Handler(void)
{
  __disable_irq();
  while (1)
  {
  }
}
